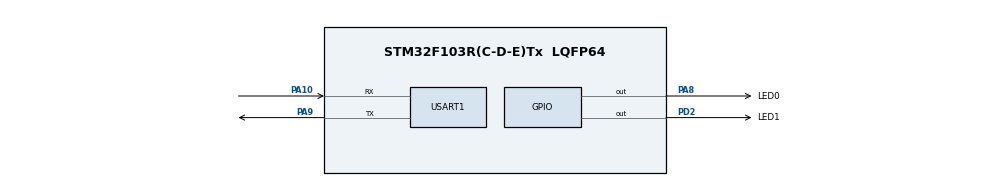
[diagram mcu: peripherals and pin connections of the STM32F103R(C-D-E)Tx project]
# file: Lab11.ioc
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FREERTOS.BinarySemaphores01=bSem01,Dynamic,NULL;bSemEmpty,Dynamic,NULL;bSemFilled,Dynamic,NULL
FREERTOS.Tasks01=Periodic,0,128,PeriodicTask,Default,NULL,Dynamic,NULL,NULL;Handle,0,128,HandleTask,Default,NULL,Dynamic,NULL,NULL;Producer,0,128,FuncProducer,Default,NULL,Dynamic,NULL,NULL;Customer,-1,128,FuncConsumer,Default,NULL,Dynamic,NULL,NULL
FREERTOS.configTOTAL_HEAP_SIZE=4096
FREERTOS.configUSE_COUNTING_SEMAPHORES=1
Mcu.Family=STM32F1
Mcu.Name=STM32F103R(C-D-E)Tx
Mcu.Package=LQFP64
NVIC.PriorityGroup=NVIC_PRIORITYGROUP_4
PA10.Mode=Asynchronous
PA10.Signal=USART1_RX
PA13.Mode=Serial_Wire
PA13.Signal=SYS_JTMS-SWDIO
PA14.Mode=Serial_Wire
PA14.Signal=SYS_JTCK-SWCLK
PA8.GPIO_Label=LED0
PA8.Signal=GPIO_Output
PA9.Mode=Asynchronous
PA9.Signal=USART1_TX
PD0-OSC_IN.Mode=HSE-External-Oscillator
PD0-OSC_IN.Signal=RCC_OSC_IN
PD1-OSC_OUT.Mode=HSE-External-Oscillator
PD1-OSC_OUT.Signal=RCC_OSC_OUT
PD2.GPIO_Label=LED1
PD2.Signal=GPIO_Output
ProjectManager.HeapSize=0x200
ProjectManager.StackSize=0x400
ProjectManager.TargetToolchain=STM32CubeIDE
RCC.APB1Freq_Value=8000000
RCC.APB2Freq_Value=8000000
USART1.VirtualMode=VM_ASYNC
VP_FREERTOS_VS_CMSIS_V1.Mode=CMSIS_V1
board=custom

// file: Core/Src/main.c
/* USER CODE BEGIN Header */
/**
  ******************************************************************************
  * @file           : main.c
  * @brief          : Main program body
  ******************************************************************************
  * @attention
  *
  * <h2><center>&copy; Copyright (c) 2020 STMicroelectronics.
  * All rights reserved.</center></h2>
  *
  * This software component is licensed by ST under BSD 3-Clause license,
  * the "License"; You may not use this file except in compliance with the
  * License. You may obtain a copy of the License at:
  *                        opensource.org/licenses/BSD-3-Clause
  *
  ******************************************************************************
  */
/* USER CODE END Header */
#include "main.h"
#include "cmsis_os.h"

/* USER CODE BEGIN Includes */
#include <string.h>
#include <stdio.h>
/* USER CODE END Includes */

UART_HandleTypeDef huart1;

osThreadId PeriodicHandle;
osThreadId HandleHandle;
osThreadId ProducerHandle;
osThreadId CustomerHandle;
osSemaphoreId bSem01Handle;
osSemaphoreId bSemEmptyHandle;
osSemaphoreId bSemFilledHandle;

void SystemClock_Config(void);
static void MX_GPIO_Init(void);
static void MX_USART1_UART_Init(void);
void PeriodicTask(void const * argument);
void HandleTask(void const * argument);
void FuncProducer(void const * argument);
void FuncConsumer(void const * argument);

int main(void)
{

  /* MCU Configuration--------------------------------------------------------*/

  /* Reset of all peripherals, Initializes the Flash interface and the Systick. */
  HAL_Init();

  /* Configure the system clock */
  SystemClock_Config();

  /* Initialize all configured peripherals */
  MX_GPIO_Init();
  MX_USART1_UART_Init();

  /* Create the semaphores(s) */
  /* definition and creation of bSem01 */
  osSemaphoreDef(bSem01);
  bSem01Handle = osSemaphoreCreate(osSemaphore(bSem01), 1);

  /* definition and creation of bSemEmpty */
  osSemaphoreDef(bSemEmpty);
  bSemEmptyHandle = osSemaphoreCreate(osSemaphore(bSemEmpty), 1);

  /* definition and creation of bSemFilled */
  osSemaphoreDef(bSemFilled);
  bSemFilledHandle = osSemaphoreCreate(osSemaphore(bSemFilled), 1);

  /* Create the thread(s) */
  /* definition and creation of Periodic */
  osThreadDef(Periodic, PeriodicTask, osPriorityNormal, 0, 128);
  PeriodicHandle = osThreadCreate(osThread(Periodic), NULL);

  /* definition and creation of Handle */
  osThreadDef(Handle, HandleTask, osPriorityNormal, 0, 128);
  HandleHandle = osThreadCreate(osThread(Handle), NULL);

  /* definition and creation of Producer */
  osThreadDef(Producer, FuncProducer, osPriorityNormal, 0, 128);
  ProducerHandle = osThreadCreate(osThread(Producer), NULL);

  /* definition and creation of Customer */
  osThreadDef(Customer, FuncConsumer, osPriorityBelowNormal, 0, 128);
  CustomerHandle = osThreadCreate(osThread(Customer), NULL);

  /* Start scheduler */
  osKernelStart();

  /* We should never get here as control is now taken by the scheduler */
  /* Infinite loop */
  while (1)
  {

  }
}

void SystemClock_Config(void)
{
  RCC_OscInitTypeDef RCC_OscInitStruct = {0};
  RCC_ClkInitTypeDef RCC_ClkInitStruct = {0};

  /** Initializes the RCC Oscillators according to the specified parameters
  * in the RCC_OscInitTypeDef structure.
  */
  RCC_OscInitStruct.OscillatorType = RCC_OSCILLATORTYPE_HSI;
  RCC_OscInitStruct.HSIState = RCC_HSI_ON;
  RCC_OscInitStruct.HSICalibrationValue = RCC_HSICALIBRATION_DEFAULT;
  RCC_OscInitStruct.PLL.PLLState = RCC_PLL_NONE;
  if (HAL_RCC_OscConfig(&RCC_OscInitStruct) != HAL_OK)
  {
    Error_Handler();
  }
  /** Initializes the CPU, AHB and APB buses clocks
  */
  RCC_ClkInitStruct.ClockType = RCC_CLOCKTYPE_HCLK|RCC_CLOCKTYPE_SYSCLK
                              |RCC_CLOCKTYPE_PCLK1|RCC_CLOCKTYPE_PCLK2;
  RCC_ClkInitStruct.SYSCLKSource = RCC_SYSCLKSOURCE_HSI;
  RCC_ClkInitStruct.AHBCLKDivider = RCC_SYSCLK_DIV1;
  RCC_ClkInitStruct.APB1CLKDivider = RCC_HCLK_DIV1;
  RCC_ClkInitStruct.APB2CLKDivider = RCC_HCLK_DIV1;

  if (HAL_RCC_ClockConfig(&RCC_ClkInitStruct, FLASH_LATENCY_0) != HAL_OK)
  {
    Error_Handler();
  }
}

static void MX_USART1_UART_Init(void)
{

  huart1.Instance = USART1;
  huart1.Init.BaudRate = 115200;
  huart1.Init.WordLength = UART_WORDLENGTH_8B;
  huart1.Init.StopBits = UART_STOPBITS_1;
  huart1.Init.Parity = UART_PARITY_NONE;
  huart1.Init.Mode = UART_MODE_TX_RX;
  huart1.Init.HwFlowCtl = UART_HWCONTROL_NONE;
  huart1.Init.OverSampling = UART_OVERSAMPLING_16;
  if (HAL_UART_Init(&huart1) != HAL_OK)
  {
    Error_Handler();
  }

}

static void MX_GPIO_Init(void)
{
  GPIO_InitTypeDef GPIO_InitStruct = {0};

  /* GPIO Ports Clock Enable */
  __HAL_RCC_GPIOD_CLK_ENABLE();
  __HAL_RCC_GPIOA_CLK_ENABLE();

  /*Configure GPIO pin Output Level */
  HAL_GPIO_WritePin(LED0_GPIO_Port, LED0_Pin, GPIO_PIN_RESET);

  /*Configure GPIO pin Output Level */
  HAL_GPIO_WritePin(LED1_GPIO_Port, LED1_Pin, GPIO_PIN_RESET);

  /*Configure GPIO pin : LED0_Pin */
  GPIO_InitStruct.Pin = LED0_Pin;
  GPIO_InitStruct.Mode = GPIO_MODE_OUTPUT_PP;
  GPIO_InitStruct.Pull = GPIO_NOPULL;
  GPIO_InitStruct.Speed = GPIO_SPEED_FREQ_LOW;
  HAL_GPIO_Init(LED0_GPIO_Port, &GPIO_InitStruct);

  /*Configure GPIO pin : LED1_Pin */
  GPIO_InitStruct.Pin = LED1_Pin;
  GPIO_InitStruct.Mode = GPIO_MODE_OUTPUT_PP;
  GPIO_InitStruct.Pull = GPIO_NOPULL;
  GPIO_InitStruct.Speed = GPIO_SPEED_FREQ_LOW;
  HAL_GPIO_Init(LED1_GPIO_Port, &GPIO_InitStruct);

}

void PeriodicTask(void const * argument)
{
  /* USER CODE BEGIN 5 */
  /* Infinite loop */
  for(;;)
  {
    //osDelay(1);
    osDelay(1000);
    osSemaphoreRelease(bSem01Handle)
  }
  /* USER CODE END 5 */
}

void HandleTask(void const * argument)
{
  /* USER CODE BEGIN HandleTask */
  /* Infinite loop */
  for(;;)
  {
    //osDelay(1);
    osSemaphoreWait(bSem01Handle, osWaitForever);
    HAL_GPIO_TogglePin(LED0_GPIO_Port, LED0_Pin);
    HAL_GPIO_TogglePin(LED1_GPIO_Port, LED1_Pin);
  }
  /* USER CODE END HandleTask */
}

void FuncProducer(void const * argument)
{
  /* USER CODE BEGIN FuncProducer */
	char msg;
  /* Infinite loop */
  for(;;)
  {
  osSemaphoreWait(bSemEmptyHandle, osWaitForever);
  sprintf(msg, "Producer produce data\r\n");
  HAL_UART_Transmit(&huart1, (uint8_t*)msg, strlen(msg), HAL_MAX_DELAY);
  HAL_Delay(500);
  osSemaphoreRelease(bSemFilledHandle);
  }
  /* USER CODE END FuncProducer */
}

void FuncConsumer(void const * argument)
{
  /* USER CODE BEGIN FuncConsumer */
	char msg;
  /* Infinite loop */
  for(;;)
  {
  osSemaphoreWait(bSemFilledHandle, osWaitForever);
  sprintf(msg, "Consumer consume data\r\n");
  HAL_UART_Transmit(&huart1, (uint8_t*)msg, strlen(msg), HAL_MAX_DELAY);
  HAL_Delay(500);
  osSemaphoreRelease(bSemEmptyHandle);
  }
  /* USER CODE END FuncConsumer */
}

void Error_Handler(void)
{
}

/************************ (C) COPYRIGHT STMicroelectronics *****END OF FILE****/
